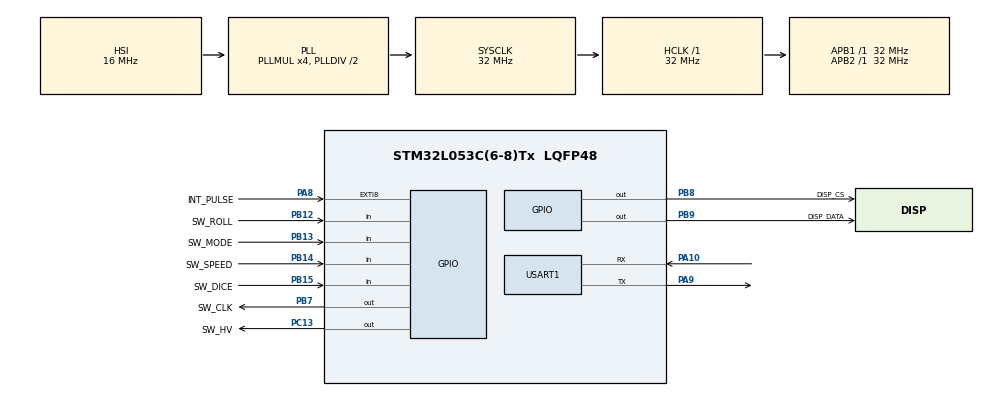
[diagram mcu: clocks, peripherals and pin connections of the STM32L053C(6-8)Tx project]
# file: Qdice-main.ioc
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Mcu.Family=STM32L0
RCC.MSI_VALUE=2097000
PB9.GPIO_Label=DISP_DATA
PA10.Mode=Asynchronous
PC13.Signal=GPIO_Output
PB14.GPIO_Label=SW_SPEED
PC13.GPIO_Label=SW_HV
PB13.GPIO_Label=SW_MODE
PB15.Signal=GPIO_Input
PB13.Signal=GPIO_Input
RCC.SYSCLKSource=RCC_SYSCLKSOURCE_PLLCLK
ProjectManager.StackSize=0x400
USART1.VirtualMode-Asynchronous=VM_ASYNC
PA13.Signal=SYS_SWDIO
RCC.HSI16_VALUE=16000000
PB8.GPIO_Label=DISP_CS
PA9.Mode=Asynchronous
PA8.GPIO_Label=INT_PULSE
ProjectManager.TargetToolchain=STM32CubeIDE
RCC.HCLKFreq_Value=32000000
RCC.APB2TimFreq_Value=32000000
PA9.Signal=USART1_TX
RCC.LSE_VALUE=32768
RCC.AHBFreq_Value=32000000
PB14.Signal=GPIO_Input
RCC.HSE_VALUE=8000000
board=custom
RCC.VCOOutputFreq_Value=64000000
RCC.PLLMUL=RCC_PLLMUL_4
PB12.GPIO_Label=SW_ROLL
RCC.APB2Freq_Value=32000000
PB15.GPIO_Label=SW_DICE
PA14.Mode=Serial_Wire
PB7.Signal=GPIO_Output
PA8.Signal=GPXTI8
PA13.Mode=Serial_Wire
Mcu.Name=STM32L053C(6-8)Tx
PB7.GPIO_Label=SW_CLK
RCC.SYSCLKFreq_VALUE=32000000
Mcu.Package=LQFP48
PB9.Signal=GPIO_Output
PA8.GPIO_ModeDefaultEXTI=GPIO_MODE_IT_FALLING
PA10.Signal=USART1_RX
PA14.Signal=SYS_SWCLK
ProjectManager.HeapSize=0x200
RCC.HSI_VALUE=16000000
RCC.APB1TimFreq_Value=32000000
PB8.Signal=GPIO_Output
RCC.APB1Freq_Value=32000000
PB12.Signal=GPIO_Input
NVIC.EXTI4_15_IRQn=true\:0\:0\:false\:false\:true\:true\:true
RCC.HSI48_VALUE=48000000

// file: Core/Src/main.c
/* USER CODE BEGIN Header */
/**
  ******************************************************************************
  * @file           : main.c
  * @brief          : Main program body
  ******************************************************************************
  * @attention
  *
  * <h2><center>&copy; Copyright (c) 2021 STMicroelectronics.
  * All rights reserved.</center></h2>
  *
  * This software component is licensed by ST under BSD 3-Clause license,
  * the "License"; You may not use this file except in compliance with the
  * License. You may obtain a copy of the License at:
  *                        opensource.org/licenses/BSD-3-Clause
  *
  ******************************************************************************
  */
/* USER CODE END Header */
#include "main.h"

/* USER CODE BEGIN Includes */
#include <stdbool.h>
#include <string.h>
#include "retarget.h"
#include "tm1638lib.h" //include the library
#include "tm1638fonts.h"
/* USER CODE END Includes */

/* USER CODE BEGIN PM */
#define NDICES 7
#define DEBOUNCE_TIME_MS 200

//#define DEBUG_1
//#define DEBUG_3

/* USER CODE END PM */

UART_HandleTypeDef huart1;

/* USER CODE BEGIN PV */

enum Dices_e{
		D2,
		D4,
		D6,
		D8,
		D10,
		D12,
		D20
};

enum Switches_e{
		Roll,
		Dice,
		Speed,
		Mode
};

volatile uint32_t currentTick, currentDetectTick, lastDetectTick;
uint8_t dices[NDICES] = {2, 4, 6, 8, 10, 12, 20};
uint8_t currentDice = 0;
bool rolling = 0;
uint8_t rollNumber = 0;
uint32_t lastPress = 0;
uint8_t lastSwStates[4] = {0, 0, 0, 0};
uint8_t currentSwStates[4] = {0, 0, 0, 0};

uint8_t MSG[35];
uint8_t MSG2[35];
uint8_t dispHigh[3];
uint8_t dispLow[3];

/* USER CODE END PV */

void SystemClock_Config(void);
static void MX_GPIO_Init(void);
static void MX_USART1_UART_Init(void);

/* USER CODE BEGIN 0 */

void readSW(){
	currentSwStates[Roll] = HAL_GPIO_ReadPin(SW_ROLL_GPIO_Port, SW_ROLL_Pin);
	currentSwStates[Dice] = HAL_GPIO_ReadPin(SW_DICE_GPIO_Port, SW_DICE_Pin);
	currentSwStates[Speed] = HAL_GPIO_ReadPin(SW_SPEED_GPIO_Port, SW_SPEED_Pin);
	currentSwStates[Mode] = HAL_GPIO_ReadPin(SW_MODE_GPIO_Port, SW_MODE_Pin);

}

uint8_t debounceCheck(uint8_t readState, uint8_t diceCode){
	if(lastSwStates[diceCode] == readState)
		return 0;
	else{
		lastSwStates[diceCode] = readState;
		return 1;
	}
}

//int _write(int32_t file, uint8_t *ptr, int32_t len)
//{
//	for (int i = 0; i < len; i++)
//	{
//		ITM_SendChar(*ptr++);
//	}
//	return len;
//}

uint32_t reverse(uint32_t x)
{
	uint32_t rem, sum = 0;
    while(x > 0)
    {
        rem = x%10;
        sum = (sum*10) + rem;
        x = x/10;
    }
    return sum;
}

void HAL_GPIO_EXTI_Callback(uint16_t GPIO_Pin){
	if(GPIO_Pin == INT_PULSE_Pin){
#ifdef DEBUG_2
		printf("1,\r\n", rollNumber);
#endif
		currentDetectTick = HAL_GetTick();
#ifndef DEBUG_3
		if(rolling){
#endif
			rolling = false;
//			if(currentDetectTick == lastDetectTick)
//				return;
			lastDetectTick = currentDetectTick;
			currentDetectTick = (HAL_GetTick() * currentDetectTick) % 100;
//			currentDetectTick =  * lastDetectTick;
//			lastDetectTick = currentDetectTick;
//			currentDetectTick = (currentDetectTick * lastDetectTick) % 100;
			rollNumber = (currentDetectTick % dices[currentDice]) + 1;

//			rollNumber = (r % dices[currentDice]) + 1;
			sprintf(dispHigh, "%03d", rollNumber);
			setDisplayToString(dispHigh, 0, 3, FONT_DEFAULT);
#ifdef DEBUG_3
			printf("%d,\r\n", rollNumber);
#endif
#ifdef DEBUG_1
			printf("Rolled dice: %d\r\n", rollNumber);
#endif
//			HAL_GPIO_WritePin(SW_HV_GPIO_Port, SW_HV_Pin, RESET);
#ifndef DEBUG_3
		}
#endif
	}
}

/* USER CODE END 0 */

int main(void)
{

  /* MCU Configuration--------------------------------------------------------*/

  /* Reset of all peripherals, Initializes the Flash interface and the Systick. */
  HAL_Init();

  /* Configure the system clock */
  SystemClock_Config();

  /* Initialize all configured peripherals */
  MX_GPIO_Init();
  MX_USART1_UART_Init();
  /* USER CODE BEGIN 2 */
  RetargetInit(&huart1);
  TM1638_DeInit();
//  setDisplayToString("d20", 0, 0, FONT_DEFAULT);
//  setDisplayToString("12", 0, 3, FONT_DEFAULT);
  sprintf(dispLow, "d%d", 12);
  setDisplayToString(dispLow, 0, 0, FONT_DEFAULT);
//  setDisplayToDecNumber(12345, 0, 0, NUMBER_FONT);
//  TM1638_ConfigDisplay(7, TM1638DisplayStateON);

//  TM1638_Init();
//  TM1638_ConfigDisplay(5, TM1638DisplayStateON);
//  TM1638_SetSingleDigit(1, 0);
//  TM1638_SetSingleDigit(2, 2);
//  TM1638_SetSingleDigit(3, 3);
//  TM1638_SetSingleDigit(4, 4);
//  TM1638_SetSingleDigit(5, 5);
//  TM1638_SetSingleDigit(6, 6);
  lastDetectTick = HAL_GetTick();

  /* USER CODE END 2 */

  /* Infinite loop */
  while (1)
  {

    /* USER CODE BEGIN 3 */
//	  printf("test\n");
	currentTick = HAL_GetTick();

	if((currentTick-lastPress)>DEBOUNCE_TIME_MS){
		readSW();
		if(debounceCheck(currentSwStates[Roll], Roll)){
			if(!currentSwStates[Roll]){
			  	//ADD FUNCTIONAL CODE HERE
				if(rolling == false){
					sprintf(dispHigh, "---");
					setDisplayToString(dispHigh, 0, 3, FONT_DEFAULT);
#ifdef DEBUG_1
					printf("Rolling...\r\n");
#endif
					rolling = true;
				}
				lastPress = HAL_GetTick();
			  }
		}

		if(debounceCheck(currentSwStates[Dice], Dice)){
			if(!currentSwStates[Dice]){
			  	//ADD FUNCTIONAL CODE HERE
				currentDice = (currentDice + 1) % NDICES;
				sprintf(dispLow, "d%02d", dices[currentDice]);
				setDisplayToString(dispLow, 0, 0, FONT_DEFAULT);
#if defined(DEBUG_1) || defined(DEBUG_3)
				printf("Current dice: D%d\r\n", dices[currentDice]);
#endif
				lastPress = HAL_GetTick();
			}
		}

		if(debounceCheck(currentSwStates[Speed], Speed)){
			if(!currentSwStates[Speed]){
				//ADD FUNCTIONAL CODE HERE
#ifdef DEBUG_1
				printf("uart test\r\n");
#endif
				lastPress = HAL_GetTick();
			  }
		}

		if(debounceCheck(currentSwStates[Mode], Mode)){
			if(!currentSwStates[Mode]){
	//			  currentDice = (currentDice + 1) % NDICES;
				HAL_GPIO_TogglePin(SW_HV_GPIO_Port, SW_HV_Pin);
				lastPress = HAL_GetTick();
			  }
		}

	}

//	  if((currentTick-lastPress)>DEBOUNCE_TIME_MS){
//
//		  if(!HAL_GPIO_ReadPin(SW_DICE_GPIO_Port, SW_DICE_Pin)){
//			  if(debounceCheck(readState, diceCode))
////			  currentDice = (currentDice + 1) % NDICES;
//			  HAL_GPIO_TogglePin(SW_HV_GPIO_Port, SW_HV_Pin);
//			  lastPress = HAL_GetTick();
//		  }
//
//		  if(!HAL_GPIO_ReadPin(SW_ROLL_GPIO_Port, SW_ROLL_Pin)){
////			  rolling = true;
//			  lastPress = HAL_GetTick();
//		  }
  }

  /* USER CODE END 3 */
}

void SystemClock_Config(void)
{
  RCC_OscInitTypeDef RCC_OscInitStruct = {0};
  RCC_ClkInitTypeDef RCC_ClkInitStruct = {0};
  RCC_PeriphCLKInitTypeDef PeriphClkInit = {0};

  /** Configure the main internal regulator output voltage
  */
  __HAL_PWR_VOLTAGESCALING_CONFIG(PWR_REGULATOR_VOLTAGE_SCALE1);
  /** Initializes the RCC Oscillators according to the specified parameters
  * in the RCC_OscInitTypeDef structure.
  */
  RCC_OscInitStruct.OscillatorType = RCC_OSCILLATORTYPE_HSI;
  RCC_OscInitStruct.HSIState = RCC_HSI_ON;
  RCC_OscInitStruct.HSICalibrationValue = RCC_HSICALIBRATION_DEFAULT;
  RCC_OscInitStruct.PLL.PLLState = RCC_PLL_ON;
  RCC_OscInitStruct.PLL.PLLSource = RCC_PLLSOURCE_HSI;
  RCC_OscInitStruct.PLL.PLLMUL = RCC_PLLMUL_4;
  RCC_OscInitStruct.PLL.PLLDIV = RCC_PLLDIV_2;
  if (HAL_RCC_OscConfig(&RCC_OscInitStruct) != HAL_OK)
  {
    Error_Handler();
  }
  /** Initializes the CPU, AHB and APB buses clocks
  */
  RCC_ClkInitStruct.ClockType = RCC_CLOCKTYPE_HCLK|RCC_CLOCKTYPE_SYSCLK
                              |RCC_CLOCKTYPE_PCLK1|RCC_CLOCKTYPE_PCLK2;
  RCC_ClkInitStruct.SYSCLKSource = RCC_SYSCLKSOURCE_PLLCLK;
  RCC_ClkInitStruct.AHBCLKDivider = RCC_SYSCLK_DIV1;
  RCC_ClkInitStruct.APB1CLKDivider = RCC_HCLK_DIV1;
  RCC_ClkInitStruct.APB2CLKDivider = RCC_HCLK_DIV1;

  if (HAL_RCC_ClockConfig(&RCC_ClkInitStruct, FLASH_LATENCY_1) != HAL_OK)
  {
    Error_Handler();
  }
  PeriphClkInit.PeriphClockSelection = RCC_PERIPHCLK_USART1;
  PeriphClkInit.Usart1ClockSelection = RCC_USART1CLKSOURCE_PCLK2;
  if (HAL_RCCEx_PeriphCLKConfig(&PeriphClkInit) != HAL_OK)
  {
    Error_Handler();
  }
}

static void MX_USART1_UART_Init(void)
{

  huart1.Instance = USART1;
  huart1.Init.BaudRate = 115200;
  huart1.Init.WordLength = UART_WORDLENGTH_8B;
  huart1.Init.StopBits = UART_STOPBITS_1;
  huart1.Init.Parity = UART_PARITY_NONE;
  huart1.Init.Mode = UART_MODE_TX_RX;
  huart1.Init.HwFlowCtl = UART_HWCONTROL_NONE;
  huart1.Init.OverSampling = UART_OVERSAMPLING_16;
  huart1.Init.OneBitSampling = UART_ONE_BIT_SAMPLE_DISABLE;
  huart1.AdvancedInit.AdvFeatureInit = UART_ADVFEATURE_NO_INIT;
  if (HAL_UART_Init(&huart1) != HAL_OK)
  {
    Error_Handler();
  }

}

static void MX_GPIO_Init(void)
{
  GPIO_InitTypeDef GPIO_InitStruct = {0};

  /* GPIO Ports Clock Enable */
  __HAL_RCC_GPIOC_CLK_ENABLE();
  __HAL_RCC_GPIOH_CLK_ENABLE();
  __HAL_RCC_GPIOA_CLK_ENABLE();
  __HAL_RCC_GPIOB_CLK_ENABLE();

  /*Configure GPIO pin Output Level */
  HAL_GPIO_WritePin(SW_HV_GPIO_Port, SW_HV_Pin, GPIO_PIN_RESET);

  /*Configure GPIO pin Output Level */
  HAL_GPIO_WritePin(GPIOB, SW_CLK_Pin|DISP_CS_Pin|DISP_DATA_Pin, GPIO_PIN_RESET);

  /*Configure GPIO pin : SW_HV_Pin */
  GPIO_InitStruct.Pin = SW_HV_Pin;
  GPIO_InitStruct.Mode = GPIO_MODE_OUTPUT_PP;
  GPIO_InitStruct.Pull = GPIO_NOPULL;
  GPIO_InitStruct.Speed = GPIO_SPEED_FREQ_LOW;
  HAL_GPIO_Init(SW_HV_GPIO_Port, &GPIO_InitStruct);

  /*Configure GPIO pins : PC14 PC15 */
  GPIO_InitStruct.Pin = GPIO_PIN_14|GPIO_PIN_15;
  GPIO_InitStruct.Mode = GPIO_MODE_ANALOG;
  GPIO_InitStruct.Pull = GPIO_NOPULL;
  HAL_GPIO_Init(GPIOC, &GPIO_InitStruct);

  /*Configure GPIO pins : PH0 PH1 */
  GPIO_InitStruct.Pin = GPIO_PIN_0|GPIO_PIN_1;
  GPIO_InitStruct.Mode = GPIO_MODE_ANALOG;
  GPIO_InitStruct.Pull = GPIO_NOPULL;
  HAL_GPIO_Init(GPIOH, &GPIO_InitStruct);

  /*Configure GPIO pins : PA0 PA1 PA2 PA3
                           PA4 PA5 PA6 PA7
                           PA11 PA12 PA15 */
  GPIO_InitStruct.Pin = GPIO_PIN_0|GPIO_PIN_1|GPIO_PIN_2|GPIO_PIN_3
                          |GPIO_PIN_4|GPIO_PIN_5|GPIO_PIN_6|GPIO_PIN_7
                          |GPIO_PIN_11|GPIO_PIN_12|GPIO_PIN_15;
  GPIO_InitStruct.Mode = GPIO_MODE_ANALOG;
  GPIO_InitStruct.Pull = GPIO_NOPULL;
  HAL_GPIO_Init(GPIOA, &GPIO_InitStruct);

  /*Configure GPIO pins : PB0 PB1 PB2 PB10
                           PB11 PB3 PB4 PB5
                           PB6 */
  GPIO_InitStruct.Pin = GPIO_PIN_0|GPIO_PIN_1|GPIO_PIN_2|GPIO_PIN_10
                          |GPIO_PIN_11|GPIO_PIN_3|GPIO_PIN_4|GPIO_PIN_5
                          |GPIO_PIN_6;
  GPIO_InitStruct.Mode = GPIO_MODE_ANALOG;
  GPIO_InitStruct.Pull = GPIO_NOPULL;
  HAL_GPIO_Init(GPIOB, &GPIO_InitStruct);

  /*Configure GPIO pins : SW_ROLL_Pin SW_MODE_Pin SW_SPEED_Pin SW_DICE_Pin */
  GPIO_InitStruct.Pin = SW_ROLL_Pin|SW_MODE_Pin|SW_SPEED_Pin|SW_DICE_Pin;
  GPIO_InitStruct.Mode = GPIO_MODE_INPUT;
  GPIO_InitStruct.Pull = GPIO_NOPULL;
  HAL_GPIO_Init(GPIOB, &GPIO_InitStruct);

  /*Configure GPIO pin : INT_PULSE_Pin */
  GPIO_InitStruct.Pin = INT_PULSE_Pin;
  GPIO_InitStruct.Mode = GPIO_MODE_IT_FALLING;
  GPIO_InitStruct.Pull = GPIO_NOPULL;
  HAL_GPIO_Init(INT_PULSE_GPIO_Port, &GPIO_InitStruct);

  /*Configure GPIO pins : SW_CLK_Pin DISP_CS_Pin DISP_DATA_Pin */
  GPIO_InitStruct.Pin = SW_CLK_Pin|DISP_CS_Pin|DISP_DATA_Pin;
  GPIO_InitStruct.Mode = GPIO_MODE_OUTPUT_PP;
  GPIO_InitStruct.Pull = GPIO_NOPULL;
  GPIO_InitStruct.Speed = GPIO_SPEED_FREQ_LOW;
  HAL_GPIO_Init(GPIOB, &GPIO_InitStruct);

  /* EXTI interrupt init*/
  HAL_NVIC_SetPriority(EXTI4_15_IRQn, 0, 0);
  HAL_NVIC_EnableIRQ(EXTI4_15_IRQn);

}

void Error_Handler(void)
{
  __disable_irq();
  while (1)
  {
  }
}

/************************ (C) COPYRIGHT STMicroelectronics *****END OF FILE****/
